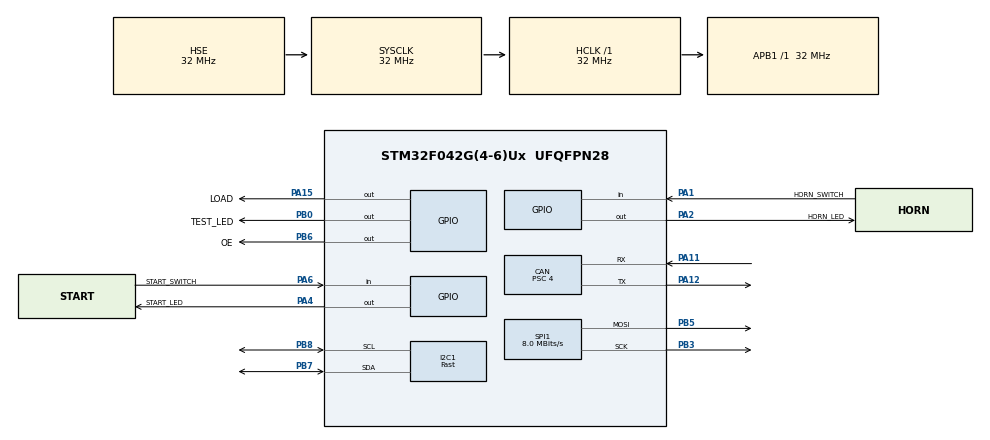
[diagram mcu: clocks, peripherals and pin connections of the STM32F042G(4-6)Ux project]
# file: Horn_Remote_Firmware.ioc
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CAN.ABOM=ENABLE
CAN.BS1=CAN_BS1_4TQ
CAN.BS2=CAN_BS2_3TQ
CAN.CalculateBaudRate=1000000
CAN.CalculateTimeBit=1000
CAN.CalculateTimeQuantum=125.0
CAN.NART=ENABLE
CAN.Prescaler=4
FREERTOS.MEMORY_ALLOCATION=1
FREERTOS.Queues01=displayQueue,4,uint32_t,0,Static,displayQueueBuffer,displayQueueControlBlock
FREERTOS.Tasks01=defaultTask,-2,64,StartDefaultTask,Default,NULL,Static,defaultTaskBuffer,defaultTaskControlBlock;canReceiveTask,2,64,StartCanReceiveTask,Default,NULL,Static,canReceiveTaskBuffer,canReceiveTaskControlBlock;buttonTask,0,64,StartButtonTask,Default,NULL,Static,buttonTaskBuffer,buttonTaskControlBlock;canPeriodic,-2,64,StartCanPeriodic,Default,NULL,Static,canPeriodicBuffer,canPeriodicControlBlock;displayTask,-1,64,StartDisplayTask,Default,NULL,Static,displayTaskBuffer,displayTaskControlBlock;buzzerTask,-2,64,StartBuzzerTask,Default,NULL,Static,buzzerTaskBuffer,buzzerTaskControlBlock
FREERTOS.configMINIMAL_STACK_SIZE=64
FREERTOS.configUSE_MUTEXES=0
FREERTOS.configUSE_NEWLIB_REENTRANT=1
I2C1.I2C_Speed_Mode=I2C_Fast
I2C1.Timing=0x0000020B
Mcu.Family=STM32F0
Mcu.Name=STM32F042G(4-6)Ux
Mcu.Package=UFQFPN28
NVIC.CEC_CAN_IRQn=true\:3\:0\:false\:false\:true\:true\:true\:true\:true
NVIC.TIM1_BRK_UP_TRG_COM_IRQn=true\:3\:0\:false\:false\:true\:false\:false\:true\:true
NVIC.TimeBase=TIM1_BRK_UP_TRG_COM_IRQn
NVIC.TimeBaseIP=TIM1
PA1.GPIO_Label=HORN_SWITCH
PA1.GPIO_PuPd=GPIO_NOPULL
PA1.Signal=GPIO_Input
PA11.Mode=CAN_Activate
PA11.Signal=CAN_RX
PA12.Mode=CAN_Activate
PA12.Signal=CAN_TX
PA13.Mode=Serial_Wire
PA13.Signal=SYS_SWDIO
PA14.Mode=Serial_Wire
PA14.Signal=SYS_SWCLK
PA15.GPIO_Label=LOAD
PA15.Signal=GPIO_Output
PA2.GPIO_Label=HORN_LED
PA2.Signal=GPIO_Output
PA4.GPIO_Label=START_LED
PA4.Signal=GPIO_Output
PA6.GPIO_Label=START_SWITCH
PA6.GPIO_PuPd=GPIO_PULLUP
PA6.Signal=GPIO_Input
PB0.GPIO_Label=TEST_LED
PB0.Signal=GPIO_Output
PB3.Mode=TX_Only_Simplex_Unidirect_Master
PB3.Signal=SPI1_SCK
PB5.Mode=TX_Only_Simplex_Unidirect_Master
PB5.Signal=SPI1_MOSI
PB6.GPIO_Label=OE
PB6.Signal=GPIO_Output
PB7.Mode=I2C
PB7.Signal=I2C1_SDA
PB8.Mode=I2C
PB8.Signal=I2C1_SCL
PF0-OSC_IN.Mode=HSE-External-Oscillator
PF0-OSC_IN.Signal=RCC_OSC_IN
PF1-OSC_OUT.Mode=HSE-External-Oscillator
PF1-OSC_OUT.Signal=RCC_OSC_OUT
ProjectManager.HeapSize=0x200
ProjectManager.StackSize=0x400
ProjectManager.TargetToolchain=STM32CubeIDE
RCC.AHBFreq_Value=32000000
RCC.APB1Freq_Value=32000000
RCC.APB1TimFreq_Value=32000000
RCC.HCLKFreq_Value=32000000
RCC.HSE_VALUE=32000000
RCC.SYSCLKFreq_VALUE=32000000
RCC.SYSCLKSource=RCC_SYSCLKSOURCE_HSE
SPI1.BaudRatePrescaler=SPI_BAUDRATEPRESCALER_4
SPI1.CalculateBaudRate=8.0 MBits/s
SPI1.DataSize=SPI_DATASIZE_8BIT
SPI1.Direction=SPI_DIRECTION_2LINES
SPI1.Mode=SPI_MODE_MASTER
SPI1.VirtualType=VM_MASTER
VP_FREERTOS_VS_CMSIS_V1.Mode=CMSIS_V1
VP_SYS_VS_PINREMAP.Mode=PINREMAP
VP_SYS_VS_tim1.Mode=TIM1
board=custom

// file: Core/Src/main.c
/* USER CODE BEGIN Header */
/**
  ******************************************************************************
  * @file           : main.c
  * @brief          : Main program body
  ******************************************************************************
  * @attention
  *
  * Copyright (c) 2024 STMicroelectronics.
  * All rights reserved.
  *
  * This software is licensed under terms that can be found in the LICENSE file
  * in the root directory of this software component.
  * If no LICENSE file comes with this software, it is provided AS-IS.
  *
  ******************************************************************************
  */
/* USER CODE END Header */
#include "main.h"
#include "cmsis_os.h"

/* USER CODE BEGIN Includes */
#include "MAX7219.h"
/* USER CODE END Includes */

/* USER CODE BEGIN PD */
#define CAN_REMOTE_ID ((0xBB)<<3)
#define CAN_CONTROLLER_ID ((0xAA)<<3)
#define CAN_MSG_START 0b010
#define CAN_MSG_HORN 0b011
#define CAN_MSG_PERIODIC 0b000
#define CAN_MSG_TIME 0b001
#define CAN_MSG_ERROR 0b111
#define CAN_MSG_BUZZER 0b100

#define DISPLAY_CODE_TIME 0
#define DISPLAY_CODE_ERR 1

#define HORN_MODE_THREE_MINUTE 1
#define HORN_MODE_FIVE_MINUTE 0
/* USER CODE END PD */

CAN_HandleTypeDef hcan;

I2C_HandleTypeDef hi2c1;

SPI_HandleTypeDef hspi1;

osThreadId defaultTaskHandle;
uint32_t defaultTaskBuffer[ 64 ];
osStaticThreadDef_t defaultTaskControlBlock;
osThreadId canReceiveTaskHandle;
uint32_t canReceiveTaskBuffer[ 64 ];
osStaticThreadDef_t canReceiveTaskControlBlock;
osThreadId buttonTaskHandle;
uint32_t buttonTaskBuffer[ 64 ];
osStaticThreadDef_t buttonTaskControlBlock;
osThreadId canPeriodicHandle;
uint32_t canPeriodicBuffer[ 64 ];
osStaticThreadDef_t canPeriodicControlBlock;
osThreadId displayTaskHandle;
uint32_t displayTaskBuffer[ 64 ];
osStaticThreadDef_t displayTaskControlBlock;
osThreadId buzzerTaskHandle;
uint32_t buzzerTaskBuffer[ 64 ];
osStaticThreadDef_t buzzerTaskControlBlock;
osMessageQId displayQueueHandle;
uint8_t displayQueueBuffer[ 4 * sizeof( uint32_t ) ];
osStaticMessageQDef_t displayQueueControlBlock;
/* USER CODE BEGIN PV */
CAN_RxHeaderTypeDef receivedHeader;
uint8_t receivedData[8];
uint16_t receivedTime = 210;
uint8_t receivedIsRunning = 0;
uint8_t receivedMode = HORN_MODE_THREE_MINUTE;

//long = 900, short = 150
const uint16_t buzzerTimes_Three[29] =   {195, 185, 184, 183, 182, 181,  180, 135, 125, 124, 123, 122, 121,  120,   75,  65,  64,  63,  62,  61,  60,   15,   5,   4,   3,   2,   1,   0};
const uint16_t buzzerLengths_Three[29] = {900, 150, 150, 150, 150, 150, 3900, 900, 150, 150, 150, 150, 150, 2400,  900, 150, 150, 150, 150, 150, 900,  900, 150, 150, 150, 150, 150, 900};

const uint16_t buzzerTimes_Five[28] =   {315, 305, 304, 303, 302, 301, 300, 255, 245, 244, 243, 242, 241, 240,  75,  65,  64,  63,  62,  61,  60,  15,   5,   4,   3,   2,   1,   0};
const uint16_t buzzerLengths_Five[28] = {900, 150, 150, 150, 150, 150, 900, 900, 150, 150, 150, 150, 150, 900, 900, 150, 150, 150, 150, 150, 900, 900, 150, 150, 150, 150, 150, 900};
uint8_t buzzerState;
uint8_t currentBuzz = 0;
/* USER CODE END PV */

void SystemClock_Config(void);
static void MX_GPIO_Init(void);
static void MX_CAN_Init(void);
static void MX_I2C1_Init(void);
static void MX_SPI1_Init(void);
void StartDefaultTask(void const * argument);
void StartCanReceiveTask(void const * argument);
void StartButtonTask(void const * argument);
void StartCanPeriodic(void const * argument);
void StartDisplayTask(void const * argument);
void StartBuzzerTask(void const * argument);

/* USER CODE BEGIN PFP */
void MAX7219WriteReg(uint8_t reg, uint8_t contents);
void MAX7219EnableCommunication();
void MAX7219WriteValues(uint8_t dig0, uint8_t dig1, uint8_t dig2);
void setBuzzer(uint8_t state);
/* USER CODE END PFP */

/* USER CODE BEGIN 0 */
void HAL_CAN_RxFifo0MsgPendingCallback(CAN_HandleTypeDef *hcan){
  HAL_CAN_DeactivateNotification(hcan, CAN_IT_RX_FIFO0_MSG_PENDING);

  BaseType_t xHigherPriorityTaskWoken = pdFALSE;

  xTaskNotifyFromISR(canReceiveTaskHandle, 1, eSetValueWithOverwrite, &xHigherPriorityTaskWoken);

  portYIELD_FROM_ISR(xHigherPriorityTaskWoken);
}
/* USER CODE END 0 */

int main(void)
{

  /* MCU Configuration--------------------------------------------------------*/

  /* Reset of all peripherals, Initializes the Flash interface and the Systick. */
  HAL_Init();

  /* Configure the system clock */
  SystemClock_Config();

  /* Initialize all configured peripherals */
  MX_GPIO_Init();
  MX_CAN_Init();
  MX_I2C1_Init();
  MX_SPI1_Init();
  /* USER CODE BEGIN 2 */
  MAX7219EnableCommunication();
  MAX7219WriteReg(MAX7219_REG_SHUTDOWN, MAX7219_NORMAL);
  MAX7219WriteReg(MAX7219_REG_SCAN_LIMIT, 2);
  MAX7219WriteReg(MAX7219_REG_DECODE, MAX7219_DECODE);
  MAX7219WriteReg(MAX7219_REG_INTENSITY, MAX7219_FULL_INTENSITY);
  MAX7219WriteValues(0, 0, 0);
  /* USER CODE END 2 */

  /* Create the queue(s) */
  /* definition and creation of displayQueue */
  osMessageQStaticDef(displayQueue, 4, uint32_t, displayQueueBuffer, &displayQueueControlBlock);
  displayQueueHandle = osMessageCreate(osMessageQ(displayQueue), NULL);

  /* Create the thread(s) */
  /* definition and creation of defaultTask */
  osThreadStaticDef(defaultTask, StartDefaultTask, osPriorityLow, 0, 64, defaultTaskBuffer, &defaultTaskControlBlock);
  defaultTaskHandle = osThreadCreate(osThread(defaultTask), NULL);

  /* definition and creation of canReceiveTask */
  osThreadStaticDef(canReceiveTask, StartCanReceiveTask, osPriorityHigh, 0, 64, canReceiveTaskBuffer, &canReceiveTaskControlBlock);
  canReceiveTaskHandle = osThreadCreate(osThread(canReceiveTask), NULL);

  /* definition and creation of buttonTask */
  osThreadStaticDef(buttonTask, StartButtonTask, osPriorityNormal, 0, 64, buttonTaskBuffer, &buttonTaskControlBlock);
  buttonTaskHandle = osThreadCreate(osThread(buttonTask), NULL);

  /* definition and creation of canPeriodic */
  osThreadStaticDef(canPeriodic, StartCanPeriodic, osPriorityLow, 0, 64, canPeriodicBuffer, &canPeriodicControlBlock);
  canPeriodicHandle = osThreadCreate(osThread(canPeriodic), NULL);

  /* definition and creation of displayTask */
  osThreadStaticDef(displayTask, StartDisplayTask, osPriorityBelowNormal, 0, 64, displayTaskBuffer, &displayTaskControlBlock);
  displayTaskHandle = osThreadCreate(osThread(displayTask), NULL);

  /* definition and creation of buzzerTask */
  osThreadStaticDef(buzzerTask, StartBuzzerTask, osPriorityLow, 0, 64, buzzerTaskBuffer, &buzzerTaskControlBlock);
  buzzerTaskHandle = osThreadCreate(osThread(buzzerTask), NULL);

  /* Start scheduler */
  osKernelStart();

  /* We should never get here as control is now taken by the scheduler */
  /* Infinite loop */
  while (1)
  {

  }
}

void SystemClock_Config(void)
{
  RCC_OscInitTypeDef RCC_OscInitStruct = {0};
  RCC_ClkInitTypeDef RCC_ClkInitStruct = {0};
  RCC_PeriphCLKInitTypeDef PeriphClkInit = {0};

  /** Initializes the RCC Oscillators according to the specified parameters
  * in the RCC_OscInitTypeDef structure.
  */
  RCC_OscInitStruct.OscillatorType = RCC_OSCILLATORTYPE_HSI|RCC_OSCILLATORTYPE_HSE;
  RCC_OscInitStruct.HSEState = RCC_HSE_ON;
  RCC_OscInitStruct.HSIState = RCC_HSI_ON;
  RCC_OscInitStruct.HSICalibrationValue = RCC_HSICALIBRATION_DEFAULT;
  RCC_OscInitStruct.PLL.PLLState = RCC_PLL_NONE;
  if (HAL_RCC_OscConfig(&RCC_OscInitStruct) != HAL_OK)
  {
    Error_Handler();
  }

  /** Initializes the CPU, AHB and APB buses clocks
  */
  RCC_ClkInitStruct.ClockType = RCC_CLOCKTYPE_HCLK|RCC_CLOCKTYPE_SYSCLK
                              |RCC_CLOCKTYPE_PCLK1;
  RCC_ClkInitStruct.SYSCLKSource = RCC_SYSCLKSOURCE_HSE;
  RCC_ClkInitStruct.AHBCLKDivider = RCC_SYSCLK_DIV1;
  RCC_ClkInitStruct.APB1CLKDivider = RCC_HCLK_DIV1;

  if (HAL_RCC_ClockConfig(&RCC_ClkInitStruct, FLASH_LATENCY_1) != HAL_OK)
  {
    Error_Handler();
  }
  PeriphClkInit.PeriphClockSelection = RCC_PERIPHCLK_I2C1;
  PeriphClkInit.I2c1ClockSelection = RCC_I2C1CLKSOURCE_HSI;
  if (HAL_RCCEx_PeriphCLKConfig(&PeriphClkInit) != HAL_OK)
  {
    Error_Handler();
  }
}

static void MX_CAN_Init(void)
{

  hcan.Instance = CAN;
  hcan.Init.Prescaler = 4;
  hcan.Init.Mode = CAN_MODE_NORMAL;
  hcan.Init.SyncJumpWidth = CAN_SJW_1TQ;
  hcan.Init.TimeSeg1 = CAN_BS1_4TQ;
  hcan.Init.TimeSeg2 = CAN_BS2_3TQ;
  hcan.Init.TimeTriggeredMode = DISABLE;
  hcan.Init.AutoBusOff = ENABLE;
  hcan.Init.AutoWakeUp = DISABLE;
  hcan.Init.AutoRetransmission = ENABLE;
  hcan.Init.ReceiveFifoLocked = DISABLE;
  hcan.Init.TransmitFifoPriority = DISABLE;
  if (HAL_CAN_Init(&hcan) != HAL_OK)
  {
    Error_Handler();
  }
  /* USER CODE BEGIN CAN_Init 2 */

  CAN_FilterTypeDef filter;
  filter.FilterBank = 0;
  filter.FilterMode = CAN_FILTERMODE_IDMASK;
  filter.FilterScale = CAN_FILTERSCALE_32BIT;
  filter.FilterMaskIdHigh = 0x0;
  filter.FilterMaskIdLow = 0x0;
  filter.FilterFIFOAssignment = CAN_RX_FIFO0;
  filter.FilterActivation = ENABLE;
  HAL_CAN_ConfigFilter(&hcan, &filter);

  if (HAL_CAN_Start(&hcan) != HAL_OK)
  {
    Error_Handler();
  }
  /* USER CODE END CAN_Init 2 */

}

static void MX_I2C1_Init(void)
{

  hi2c1.Instance = I2C1;
  hi2c1.Init.Timing = 0x0000020B;
  hi2c1.Init.OwnAddress1 = 0;
  hi2c1.Init.AddressingMode = I2C_ADDRESSINGMODE_7BIT;
  hi2c1.Init.DualAddressMode = I2C_DUALADDRESS_DISABLE;
  hi2c1.Init.OwnAddress2 = 0;
  hi2c1.Init.OwnAddress2Masks = I2C_OA2_NOMASK;
  hi2c1.Init.GeneralCallMode = I2C_GENERALCALL_DISABLE;
  hi2c1.Init.NoStretchMode = I2C_NOSTRETCH_DISABLE;
  if (HAL_I2C_Init(&hi2c1) != HAL_OK)
  {
    Error_Handler();
  }

  /** Configure Analogue filter
  */
  if (HAL_I2CEx_ConfigAnalogFilter(&hi2c1, I2C_ANALOGFILTER_ENABLE) != HAL_OK)
  {
    Error_Handler();
  }

  /** Configure Digital filter
  */
  if (HAL_I2CEx_ConfigDigitalFilter(&hi2c1, 0) != HAL_OK)
  {
    Error_Handler();
  }

}

static void MX_SPI1_Init(void)
{

  /* SPI1 parameter configuration*/
  hspi1.Instance = SPI1;
  hspi1.Init.Mode = SPI_MODE_MASTER;
  hspi1.Init.Direction = SPI_DIRECTION_2LINES;
  hspi1.Init.DataSize = SPI_DATASIZE_8BIT;
  hspi1.Init.CLKPolarity = SPI_POLARITY_LOW;
  hspi1.Init.CLKPhase = SPI_PHASE_1EDGE;
  hspi1.Init.NSS = SPI_NSS_SOFT;
  hspi1.Init.BaudRatePrescaler = SPI_BAUDRATEPRESCALER_4;
  hspi1.Init.FirstBit = SPI_FIRSTBIT_MSB;
  hspi1.Init.TIMode = SPI_TIMODE_DISABLE;
  hspi1.Init.CRCCalculation = SPI_CRCCALCULATION_DISABLE;
  hspi1.Init.CRCPolynomial = 7;
  hspi1.Init.CRCLength = SPI_CRC_LENGTH_DATASIZE;
  hspi1.Init.NSSPMode = SPI_NSS_PULSE_ENABLE;
  if (HAL_SPI_Init(&hspi1) != HAL_OK)
  {
    Error_Handler();
  }

}

static void MX_GPIO_Init(void)
{
  GPIO_InitTypeDef GPIO_InitStruct = {0};

  /* GPIO Ports Clock Enable */
  __HAL_RCC_GPIOB_CLK_ENABLE();
  __HAL_RCC_GPIOF_CLK_ENABLE();
  __HAL_RCC_GPIOA_CLK_ENABLE();

  /*Configure GPIO pin Output Level */
  HAL_GPIO_WritePin(GPIOA, HORN_LED_Pin|START_LED_Pin|LOAD_Pin, GPIO_PIN_RESET);

  /*Configure GPIO pin Output Level */
  HAL_GPIO_WritePin(GPIOB, TEST_LED_Pin|OE_Pin, GPIO_PIN_RESET);

  /*Configure GPIO pin : HORN_SWITCH_Pin */
  GPIO_InitStruct.Pin = HORN_SWITCH_Pin;
  GPIO_InitStruct.Mode = GPIO_MODE_INPUT;
  GPIO_InitStruct.Pull = GPIO_NOPULL;
  HAL_GPIO_Init(HORN_SWITCH_GPIO_Port, &GPIO_InitStruct);

  /*Configure GPIO pins : HORN_LED_Pin START_LED_Pin LOAD_Pin */
  GPIO_InitStruct.Pin = HORN_LED_Pin|START_LED_Pin|LOAD_Pin;
  GPIO_InitStruct.Mode = GPIO_MODE_OUTPUT_PP;
  GPIO_InitStruct.Pull = GPIO_NOPULL;
  GPIO_InitStruct.Speed = GPIO_SPEED_FREQ_LOW;
  HAL_GPIO_Init(GPIOA, &GPIO_InitStruct);

  /*Configure GPIO pin : START_SWITCH_Pin */
  GPIO_InitStruct.Pin = START_SWITCH_Pin;
  GPIO_InitStruct.Mode = GPIO_MODE_INPUT;
  GPIO_InitStruct.Pull = GPIO_PULLUP;
  HAL_GPIO_Init(START_SWITCH_GPIO_Port, &GPIO_InitStruct);

  /*Configure GPIO pins : TEST_LED_Pin OE_Pin */
  GPIO_InitStruct.Pin = TEST_LED_Pin|OE_Pin;
  GPIO_InitStruct.Mode = GPIO_MODE_OUTPUT_PP;
  GPIO_InitStruct.Pull = GPIO_NOPULL;
  GPIO_InitStruct.Speed = GPIO_SPEED_FREQ_LOW;
  HAL_GPIO_Init(GPIOB, &GPIO_InitStruct);

}

/* USER CODE BEGIN 4 */
void MAX7219WriteReg(uint8_t reg, uint8_t contents){
  static uint8_t buff[2];
  buff[0] = reg;
  buff[1] = contents;
  HAL_GPIO_WritePin(LOAD_GPIO_Port, LOAD_Pin, GPIO_PIN_RESET);
  HAL_SPI_Transmit(&hspi1, buff, 2, 2);
  HAL_GPIO_WritePin(LOAD_GPIO_Port, LOAD_Pin, GPIO_PIN_SET);
}

void MAX7219EnableCommunication(){
  HAL_GPIO_WritePin(OE_GPIO_Port, OE_Pin, GPIO_PIN_SET);
}

void MAX7219WriteValues(uint8_t dig0, uint8_t dig1, uint8_t dig2){
  MAX7219WriteReg(MAX7219_REG_DIG0, dig0);
  MAX7219WriteReg(MAX7219_REG_DIG1, dig1);
  MAX7219WriteReg(MAX7219_REG_DIG2, dig2);
}

void setBuzzer(uint8_t state){
  static uint32_t mailbox;
  static uint8_t data;
  static CAN_TxHeaderTypeDef header;
  header.StdId = CAN_REMOTE_ID | CAN_MSG_BUZZER;
  header.DLC = 0x01;
  header.IDE = CAN_ID_STD;
  header.RTR = CAN_RTR_DATA;

  data = state;

  HAL_CAN_AddTxMessage(&hcan, &header, &data, &mailbox);
}
/* USER CODE END 4 */

void StartDefaultTask(void const * argument)
{
  for(;;)
  {
    osDelay(1);
  }
}

void StartCanReceiveTask(void const * argument)
{
  /* USER CODE BEGIN StartCanReceiveTask */
  /* Infinite loop */
  uint8_t displayData[4];

  HAL_CAN_ActivateNotification(&hcan, CAN_IT_RX_FIFO0_MSG_PENDING);

  for(;;)
  {
    if(ulTaskNotifyTake(pdTRUE, 500)){
      HAL_GPIO_WritePin(TEST_LED_GPIO_Port, TEST_LED_Pin, GPIO_PIN_SET);
      HAL_CAN_GetRxMessage(&hcan, CAN_RX_FIFO0, &receivedHeader, receivedData);

      if (receivedHeader.StdId == (CAN_CONTROLLER_ID | CAN_MSG_TIME)){
        receivedTime = (receivedData[0]*60) + receivedData[1];
        receivedIsRunning = receivedData[2] >> 1;
        receivedMode = receivedData[2] & 1;
        currentBuzz = currentBuzz * receivedIsRunning;

        displayData[0] = receivedData[0];
        displayData[1] = receivedData[1] / 10;
        displayData[2] = receivedData[1] % 10;
        displayData[3] = DISPLAY_CODE_TIME;
        xQueueSend(displayQueueHandle, displayData, 0);
      }

      if (receivedHeader.StdId == (CAN_CONTROLLER_ID | CAN_MSG_ERROR)){
        displayData[0] = 0b1011;
        displayData[1] = receivedData[0] / 10;
        displayData[2] = receivedData[0] % 10;
        displayData[3] = DISPLAY_CODE_ERR;
        xQueueSend(displayQueueHandle, displayData, 0);
      }

      HAL_CAN_ActivateNotification(&hcan, CAN_IT_RX_FIFO0_MSG_PENDING);
    } else {
      HAL_GPIO_WritePin(TEST_LED_GPIO_Port, TEST_LED_Pin, GPIO_PIN_RESET);
      displayData[0] = 0b1011;
      displayData[1] = 0;
      displayData[2] = 0;
      displayData[3] = DISPLAY_CODE_TIME;
      xQueueSend(displayQueueHandle, displayData, 0);
    }
  }
  /* USER CODE END StartCanReceiveTask */
}

void StartButtonTask(void const * argument)
{
  /* USER CODE BEGIN StartButtonTask */
  /* Infinite loop */
  static uint32_t buttonCounter;
  static uint32_t mailbox;
  static uint8_t data;
  static CAN_TxHeaderTypeDef header;
  header.StdId = CAN_REMOTE_ID | CAN_MSG_START;
  header.DLC = 0x00;
  header.IDE = CAN_ID_STD;
  header.RTR = CAN_RTR_DATA;

  HAL_GPIO_WritePin(HORN_LED_GPIO_Port, HORN_LED_Pin, GPIO_PIN_SET);

  for(;;)
  {
    if (HAL_GPIO_ReadPin(START_SWITCH_GPIO_Port, START_SWITCH_Pin) == GPIO_PIN_RESET){
      buttonCounter++;
    } else{
      if (buttonCounter > 10){
        HAL_CAN_AddTxMessage(&hcan, &header, &data, &mailbox);
      }
      buttonCounter = 0;
    }

    HAL_GPIO_WritePin(START_LED_GPIO_Port, START_LED_Pin, (receivedTime+1)%2);

    vTaskDelay(5);
  }
  /* USER CODE END StartButtonTask */
}

void StartCanPeriodic(void const * argument)
{
  /* USER CODE BEGIN StartCanPeriodic */
  /* Infinite loop */
  static uint32_t mailbox;
  static uint8_t data;
  static CAN_TxHeaderTypeDef header;
  header.StdId = CAN_REMOTE_ID | CAN_MSG_PERIODIC;
  header.DLC = 0x00;
  header.IDE = CAN_ID_STD;
  header.RTR = CAN_RTR_DATA;

  for(;;)
  {
    HAL_CAN_AddTxMessage(&hcan, &header, &data, &mailbox);
    vTaskDelay(200);
  }
  /* USER CODE END StartCanPeriodic */
}

void StartDisplayTask(void const * argument)
{
  /* USER CODE BEGIN StartDisplayTask */
  /* Infinite loop */
  //{dig0, dig1, dig2, type}
  uint8_t displayData[4];
  for(;;)
  {
    xQueueReceive(displayQueueHandle, displayData, portMAX_DELAY);
    MAX7219WriteValues(displayData[0], displayData[1], displayData[2]);
    if (displayData[3] == DISPLAY_CODE_ERR){
      vTaskDelay(5000);
    }
  }
  /* USER CODE END StartDisplayTask */
}

void StartBuzzerTask(void const * argument)
{
  /* USER CODE BEGIN StartBuzzerTask */
  /* Infinite loop */
  vTaskDelay(10000);
  for(;;)
  {
    if(receivedMode == HORN_MODE_THREE_MINUTE){

      /* THREE MINUTES */
      while((receivedTime < buzzerTimes_Three[currentBuzz])
         && ((currentBuzz+1) < (sizeof(buzzerTimes_Three)/2))){
        currentBuzz++;
      }

      if(receivedTime == buzzerTimes_Three[currentBuzz]){
        setBuzzer(1);
        vTaskDelay(buzzerLengths_Three[currentBuzz]);
        setBuzzer(0);
        if ((currentBuzz+1) < (sizeof(buzzerTimes_Three)/2)){
          currentBuzz++;
        } else {
          vTaskDelay(2000);
        }
      }
      /* THREE MINUTES */

    } else {

      /* FIVE MINUTES */
      while((receivedTime < buzzerTimes_Five[currentBuzz])
         && ((currentBuzz+1) < (sizeof(buzzerTimes_Five)/2))){
        currentBuzz++;
      }

      if(receivedTime == buzzerTimes_Five[currentBuzz]){
        setBuzzer(1);
        vTaskDelay(buzzerLengths_Five[currentBuzz]);
        setBuzzer(0);
        if ((currentBuzz+1) < (sizeof(buzzerTimes_Five)/2)){
          currentBuzz++;
        } else {
          //handle last buzz

          while (receivedIsRunning && (receivedTime <= buzzerTimes_Five[currentBuzz])){
            vTaskDelay(1000);
          }
          currentBuzz = 0;
        }
      }
      /* FIVE MINUTES */

    }
    vTaskDelay(14);
  }
  /* USER CODE END StartBuzzerTask */
}

void HAL_TIM_PeriodElapsedCallback(TIM_HandleTypeDef *htim)
{
  if (htim->Instance == TIM1) {
    HAL_IncTick();
  }
}

void Error_Handler(void)
{
  __disable_irq();
  while (1)
  {
  }
}
